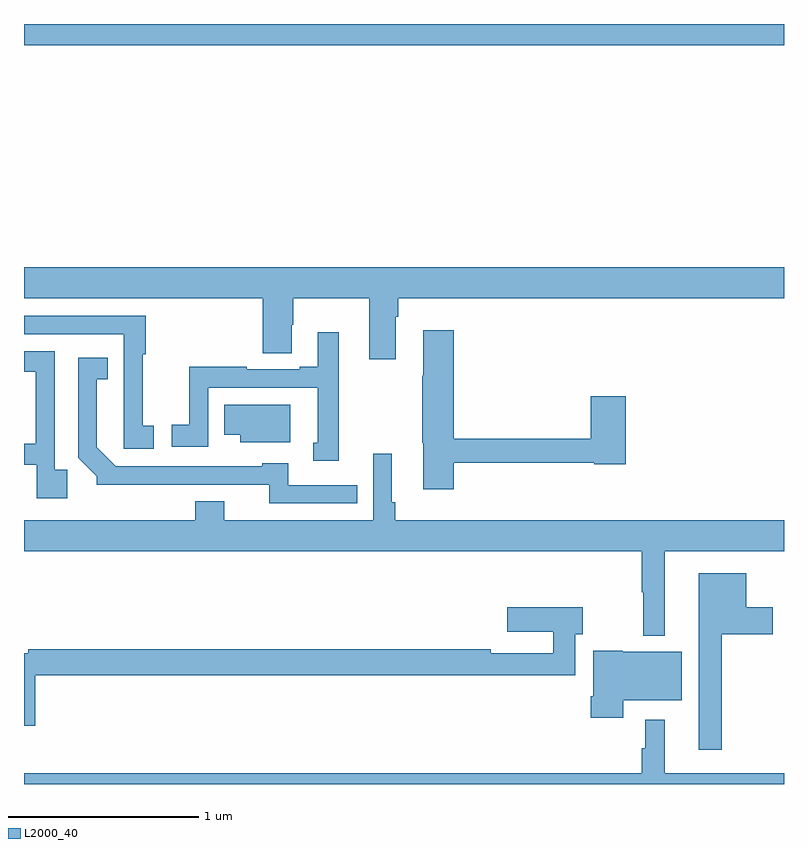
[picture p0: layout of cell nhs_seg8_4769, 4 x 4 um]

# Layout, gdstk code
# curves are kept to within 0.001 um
import gdstk
lib = gdstk.Library(unit=1e-6, precision=1e-09)
def R(c, l, rs):  # rectangles x0, y0, x1, y1
    for r in rs: c.add(gdstk.rectangle(r[:2], r[2:], *l))
def P(c, l, *ps):  # polygons
    for p in ps: c.add(gdstk.Polygon(p, *l))
L2000_40 = (2000, 40)

nhs_seg8_4769 = lib.new_cell('nhs_seg8_4769')
R(nhs_seg8_4769, L2000_40, [(399,1161.788,403,1161.9)])
P(nhs_seg8_4769, L2000_40, [(400.957,1160.36),(400.97,1160.36),(400.97,1160.456),(403,1160.456),(403,1160.62),(399,1160.62),(399,1160.456),(400.256,1160.456),(400.256,1160.167),(400.408,1160.167),(400.408,1160.318),(400.416,1160.318),(400.416,1160.456),(400.817,1160.456),(400.817,1160.136),(400.957,1160.136)],
  [(399.682,1159.785),(399.624,1159.785),(399.624,1160.161),(399.641,1160.161),(399.641,1160.364),(399,1160.364),(399,1160.268),(399.525,1160.268),(399.525,1159.94),(399.524,1159.94),(399.524,1159.665),(399.682,1159.665)],
  [(401.261,1159.59),(402,1159.59),(402,1159.582),(402.167,1159.582),(402.167,1159.942),(401.984,1159.942),(401.984,1159.718),(401.261,1159.718),(401.261,1160.287),(401.102,1160.287),(401.102,1160.048),(401.095,1160.048),(401.095,1159.695),(401.102,1159.695),(401.102,1159.452),(401.261,1159.452)],
  [(400.657,1160.278),(400.547,1160.278),(400.547,1160.095),(400.451,1160.095),(400.451,1160.082),(400.172,1160.082),(400.172,1160.095),(399.871,1160.095),(399.871,1159.79),(399.777,1159.79),(399.777,1159.674),(399.969,1159.674),(399.969,1159.986),(400.547,1159.986),(400.547,1159.695),(400.523,1159.695),(400.523,1159.601),(400.657,1159.601)],
  [(399.227,1159.555),(399.162,1159.555),(399.162,1160.178),(399,1160.178),(399,1160.07),(399.061,1160.07),(399.061,1159.69),(399,1159.69),(399,1159.581),(399.066,1159.581),(399.066,1159.404),(399.227,1159.404)],
  [(400.754,1159.473),(400.39,1159.473),(400.39,1159.588),(400.254,1159.588),(400.254,1159.572),(399.483,1159.572),(399.382,1159.673),(399.382,1160.03),(399.44,1160.03),(399.44,1160.143),(399.285,1160.143),(399.285,1159.618),(399.384,1159.519),(399.384,1159.475),(400.291,1159.476),(400.291,1159.377),(400.754,1159.377)],
  [(400.402,1159.897),(400.054,1159.897),(400.054,1159.739),(400.139,1159.739),(400.139,1159.7),(400.402,1159.7)],
  [(402.373,1159.124),(403,1159.124),(403,1159.288),(400.955,1159.288),(400.955,1159.384),(400.936,1159.384),(400.936,1159.639),(400.839,1159.639),(400.839,1159.288),(400.054,1159.288),(400.054,1159.387),(399.902,1159.387),(399.902,1159.288),(399,1159.288),(399,1159.124),(402.252,1159.124),(402.252,1158.908),(402.259,1158.908),(402.259,1158.68),(402.373,1158.68)],
  [(402.673,1158.689),(402.94,1158.689),(402.94,1158.831),(402.802,1158.831),(402.802,1159.009),(402.551,1159.009),(402.551,1158.081),(402.673,1158.081)],
  [(399.059,1158.472),(401.901,1158.472),(401.901,1158.689),(401.94,1158.689),(401.94,1158.831),(401.544,1158.831),(401.544,1158.701),(401.785,1158.701),(401.785,1158.588),(401.456,1158.588),(401.456,1158.608),(399.022,1158.608),(399.022,1158.588),(399,1158.588),(399,1158.207),(399.059,1158.207)],
  [(402.154,1158.341),(402.463,1158.341),(402.463,1158.595),(402.15,1158.595),(402.15,1158.601),(401.996,1158.601),(401.996,1158.361),(401.984,1158.361),(401.984,1158.249),(402.154,1158.249)],
  [(403,1157.956),(402.373,1157.956),(402.373,1158.238),(402.269,1158.238),(402.269,1158.089),(402.252,1158.089),(402.252,1157.956),(399,1157.956),(399,1157.9),(403,1157.9)])

lib.write_gds('nhs_seg8_4769.gds')
